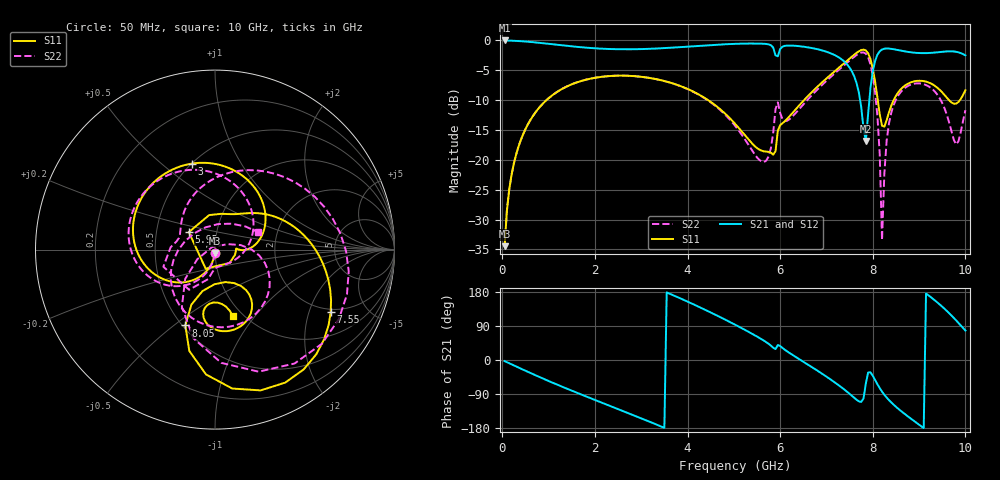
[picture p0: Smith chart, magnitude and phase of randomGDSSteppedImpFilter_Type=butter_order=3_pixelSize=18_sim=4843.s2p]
! freq	dB(S11)	phase(S11)	dB(S12)	phase(S12)
!  dB(S21)	phase(S21)	dB(S22)	phase(S22)
!S-par simulation data
#  GHz  S  DB  R 50
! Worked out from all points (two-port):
!   200 points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, 50 MHz to 10 GHz, reference 50 ohm
!   highest |S21| = -0.01 dB at 50 MHz (marker M1); lowest = -16.8 dB at 7.85 GHz (marker M2)
!   |S21| within 3 dB of the highest: start of sweep to 7.299 GHz; 8.071 GHz to end of sweep
!   lowest |S11| = -34.4 dB at 50 MHz (marker M3), VSWR 1.04, Z = 49.9 - j1.89 ohm
!   |S11| at or under -10 dB: start of sweep to 953.5 MHz; 4.444 GHz to 6.515 GHz (2.071 GHz wide, 37.8 % of centre); 8.108 GHz to 8.451 GHz (342.4 MHz wide, 4.13 % of centre) (the widest 3 of 4)
!   |S22| runs from -34.4 to -2.0 dB; largest |S21 - S12| = 0
!   S11 on the Smith chart (normalised r, x): 50 MHz: 1.00, -0.04; 3 GHz: 0.50, +0.64; 5.95 GHz: 0.73, +0.15; 7.55 GHz: 1.88, -2.81; 8.05 GHz: 0.52, -0.55; 10 GHz: 0.90, -0.78
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0.05  -34.45 -93.0  -0.01 -2.9  -0.01 -2.9  -34.45 -92.7
0.2  -22.50 -102.5  -0.04 -11.5  -0.04 -11.5  -22.49 -101.1
0.5  -14.86 -120.6  -0.18 -28.3  -0.18 -28.3  -14.85 -117.2
1.75  -6.69 170.0  -1.17 -93.2  -1.17 -93.2  -6.68 -177.7
3  -6.09 105.0  -1.45 -153.7  -1.45 -153.7  -6.08 126.9
3.4  -6.61 83.7  -1.33 -173.9  -1.33 -173.9  -6.61 108.2
4.2  -8.87 40.4  -0.93 142.9  -0.93 142.9  -8.91 66.6
5.05  -14.15 2.3  -0.57 91.8  -0.57 91.8  -14.52 7.7
5.65  -18.58 2.8  -0.56 51.0  -0.56 51.0  -20.36 -74.8
5.95  -15.13 146.3  -2.65 39.4  -2.65 39.4  -10.37 -161.6
6.7  -8.53 29.8  -1.30 -19.9  -1.30 -19.9  -9.03 103.2
7.2  -5.02 -0.3  -2.54 -60.9  -2.54 -60.9  -5.36 51.5
7.55  -2.71 -28.3  -5.20 -94.6  -5.20 -94.6  -3.04 7.1
7.85  -1.67 -72.0  -16.82 -62.2  -16.82 -62.2  -2.22 -55.1
8.05  -6.87 -111.4  -3.43 -52.8  -3.43 -52.8  -8.65 -120.0
8.15  -12.35 -106.8  -1.82 -74.3  -1.82 -74.3  -19.03 -151.6
8.2  -14.29 -90.9  -1.52 -83.5  -1.52 -83.5  -33.44 137.5
8.25  -14.43 -72.4  -1.38 -91.7  -1.38 -91.7  -22.28 23.4
8.35  -12.05 -54.4  -1.36 -105.9  -1.36 -105.9  -13.89 0.5
9.25  -7.19 -92.1  -2.09 166.2  -2.09 166.2  -7.92 -108.8
9.8  -10.59 -87.4  -1.90 104.5  -1.90 104.5  -17.41 113.5
10  -8.35 -75.1  -2.51 77.8  -2.51 77.8  -11.69 21.8
